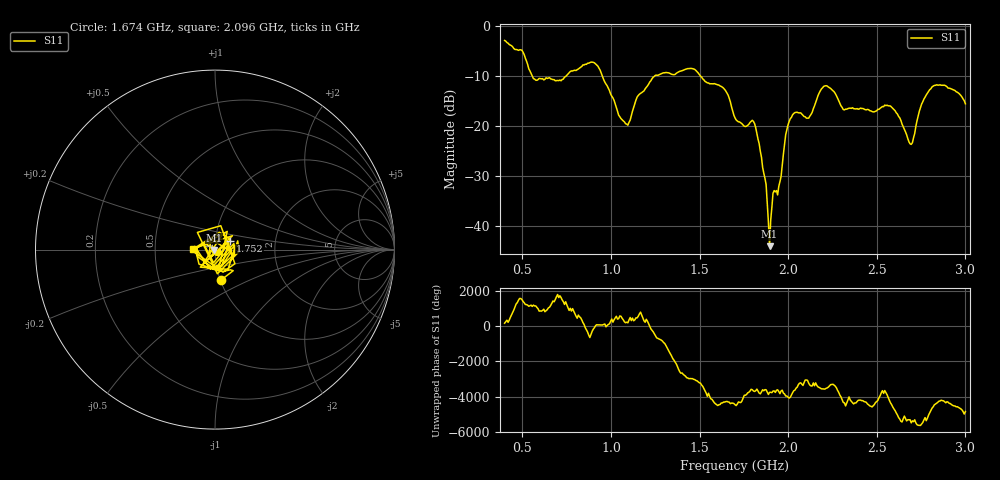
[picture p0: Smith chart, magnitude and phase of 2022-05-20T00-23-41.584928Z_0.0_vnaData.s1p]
!Created with skrf (http://scikit-rf.org).
# Hz S RI R 50.0
!freq ReS11 ImS11
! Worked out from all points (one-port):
!   401 points, 400 MHz to 3 GHz, reference 50 ohm
!   lowest |S11| = -44.0 dB at 1.895 GHz (marker M1), VSWR 1.01, Z = 49.4 - j0.21 ohm
!   |S11| at or under -10 dB: 555.6 MHz to 747.2 MHz (191.6 MHz wide, 29.4 % of centre); 951.1 MHz to 1.247 GHz (295.9 MHz wide, 26.9 % of centre); 1.505 GHz to end of sweep
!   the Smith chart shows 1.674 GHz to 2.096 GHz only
!   S11 on the Smith chart (normalised r, x): 1.674 GHz: 1.00, -0.35; 1.752 GHz: 1.18, +0.12; 2.096 GHz: 0.78, +0.01
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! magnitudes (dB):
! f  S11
! 400 MHz  -2.9
! 497.5 MHz  -4.8
! 569 MHz  -10.6
! 725 MHz  -10.7
! 907 MHz  -7.4
! 1.05 GHz  -18.1
! 1.095 GHz  -19.8
! 1.245 GHz  -10.1
! 1.375 GHz  -9.3
! 1.472 GHz  -8.7
! 1.674 GHz  -15.2
! 1.7 GHz  -18.4
! 1.752 GHz  -20.0
! 1.817 GHz  -20.4
! 1.863 GHz  -29.4
! 1.895 GHz  -44.0
! 1.954 GHz  -31.2
! 1.992 GHz  -20.7
! 2.025 GHz  -17.8
! 2.096 GHz  -18.2
! 2.207 GHz  -12.0
! 2.35 GHz  -16.4
! 2.571 GHz  -16.0
! 2.675 GHz  -22.5
! 2.701 GHz  -23.4
! 2.753 GHz  -15.6
! 2.825 GHz  -11.9
! 3 GHz  -15.6
